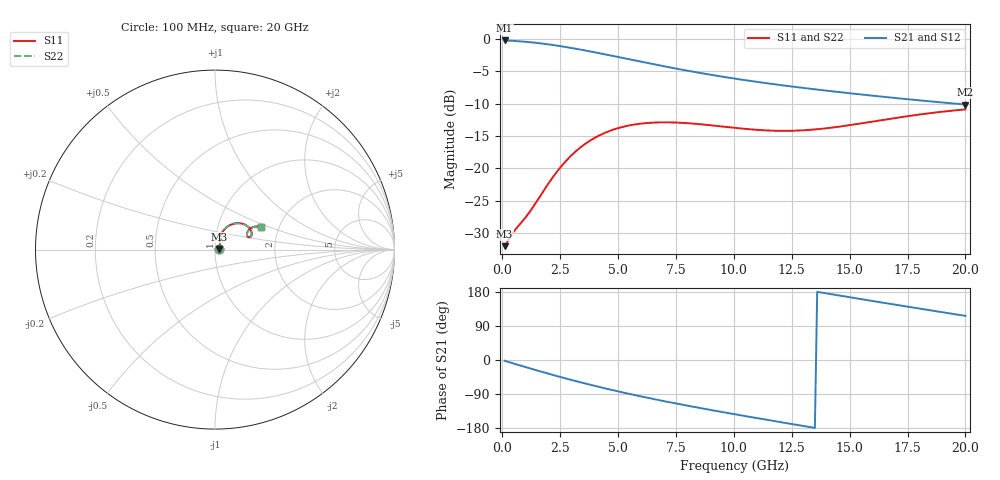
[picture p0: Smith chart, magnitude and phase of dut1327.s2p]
! Touchstone file exported from HFSS 2024.1.0
!  File:  C:/UserFiles/LocalFiles/RDL_TSV_Batchsim/temp_RDL_TSV_1327_1780388371.aedt
!  Generated:  04:36:20 PM Jun  2, 2026
!  Design:  RDL_TSV
!  Project:  temp_RDL_TSV_1327_1780388371
!  Setup:  Setup1
!  Solution:  Sweep
! Variables:
!  dtsv = 5.38um
!  hbump = 3um
!  htsv = 90.45um
!  ldown = 675.11um
!  lrdl = 371.74um
!  p = 40
!  p1 = 45.62um
!  rhole = 10um
!  subl = 3512.29um
!  t = 450um
!  tdown = 2.12um
!  trdl = 2.39um
!  viad = 10um
!  wdown = 22.22um
!  wrdl = 29.8um
!  xbump = 18um
# GHz S MA R 50.000000
! Terminal data exported
! Port[1] = TM1_1_T1
! Port[2] = TM1_4_T1
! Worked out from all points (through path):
!   200 points, 100 MHz to 20 GHz, reference 50 ohm
!   highest |S21| = -0.22 dB at 100 MHz (marker M1); lowest = -10.1 dB at 20 GHz (marker M2)
!   group delay of S21, straight-line fit = 32.3 ps
!   lowest |S11| = -32.0 dB at 100 MHz (marker M3), VSWR 1.05, Z = 52.5 + j0.437 ohm
!   |S11| at or under -10 dB: start of sweep to end of sweep
!   |S22| runs from -32.0 to -10.9 dB; largest |S21 - S12| = 1.7e-14
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0.1  0.02512 9.5  0.975 -2.0  0.975 -2.0  0.02512 9.5
! Gamma 0 0 0 0
! Port Impedance 50 0 50 0
0.5  0.03264 31.2  0.9672 -9.5  0.9672 -9.5  0.03264 31.2
0.9  0.03967 44.6  0.9558 -16.9  0.9558 -16.9  0.03967 44.6
1.4  0.05269 58.6  0.9373 -25.8  0.9373 -25.8  0.05267 58.6
1.9  0.07238 65.9  0.9142 -34.6  0.9142 -34.6  0.07233 65.9
2.3  0.09144 67.4  0.893 -41.4  0.893 -41.4  0.09135 67.4
2.7  0.1118 66.4  0.8702 -48.0  0.8702 -48.0  0.1116 66.4
3.5  0.1513 60.4  0.8212 -60.8  0.8212 -60.8  0.1511 60.4
4.2  0.1804 53.5  0.7768 -71.4  0.7768 -71.4  0.1802 53.5
4.9  0.2024 46.4  0.733 -81.4  0.733 -81.4  0.2022 46.4
5.8  0.2199 38.1  0.6793 -93.6  0.6793 -93.6  0.2196 38.1
6.8  0.2271 30.4  0.6252 -106.3  0.6252 -106.3  0.2268 30.4
7.6  0.226 25.7  0.5868 -115.9  0.5868 -115.9  0.2258 25.7
8.4  0.221 22.3  0.5526 -125.1  0.5526 -125.1  0.2208 22.3
9.2  0.2139 20.2  0.5225 -134.1  0.5225 -134.1  0.2137 20.3
10.1  0.2055 19.5  0.4927 -143.8  0.4927 -143.8  0.2054 19.6
11.7  0.1958 21.8  0.4486 -160.7  0.4486 -160.7  0.1959 21.9
13.4  0.1995 26.7  0.4109 -178.2  0.4109 -178.2  0.1997 26.7
15.1  0.2175 30.2  0.3796 164.6  0.3796 164.6  0.2177 30.2
16.7  0.2413 30.8  0.3543 148.6  0.3543 148.6  0.2415 30.8
18.3  0.2652 29.0  0.3322 132.9  0.3322 132.9  0.2654 29.0
20  0.2861 25.6  0.3119 116.5  0.3119 116.5  0.2862 25.5
